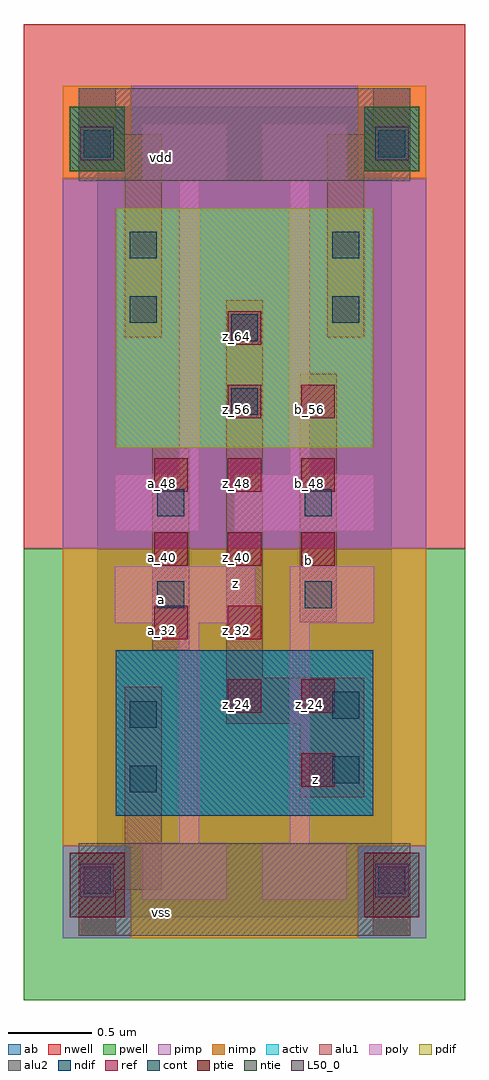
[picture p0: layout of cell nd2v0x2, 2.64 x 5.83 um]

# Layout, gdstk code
import gdstk
lib = gdstk.Library(unit=1e-6, precision=2.5e-09)
def R(c, l, rs):  # rectangles x0, y0, x1, y1
    for r in rs: c.add(gdstk.rectangle(r[:2], r[2:], *l))
def A(c, l, x, y, w, h, nx, ny, dx, dy):  # array of equal rectangles
    R(c, l, [(x+i*dx, y+j*dy, x+i*dx+w, y+j*dy+h) for i in range(nx) for j in range(ny)])
ndif = (3, 0)
pdif = (4, 0)
ntie = (5, 0)
ptie = (6, 0)
ref = (24, 0)
cont = (25, 0)
pwell = (41, 0)
nwell = (42, 0)
activ = (43, 0)
pimp = (44, 0)
nimp = (45, 0)
poly = (46, 0)
alu1 = (49, 0)
L50_0 = (50, 0)
alu2 = (51, 0)
ab = (63, 0)

nd2v0x2 = lib.new_cell('nd2v0x2')
R(nd2v0x2, ndif, [(0.11,0.605,1.65,1.595)])
R(nd2v0x2, pdif, [(0.11,2.805,1.65,4.235)])
R(nd2v0x2, ntie, [(-0.165,4.455,0.165,4.84), (1.595,4.455,1.925,4.84)])
R(nd2v0x2, ptie, [(-0.165,0,0.165,0.385), (1.595,0,1.925,0.385)])
A(nd2v0x2, ref, 0.34, 2.1, 0.2, 0.2, 3, 2, 0.44, 0.44)
R(nd2v0x2, ref, [(1.22,0.78,1.42,0.98), (0.78,1.22,0.98,1.42), (1.22,1.22,1.42,1.42), (0.34,1.66,0.54,1.86), (0.78,1.66,0.98,1.86), (0.78,2.98,0.98,3.18), (1.22,2.98,1.42,3.18), (0.78,3.42,0.98,3.62)])
R(nd2v0x2, cont, [(-0.08,0.14,0.08,0.3), (1.68,0.14,1.84,0.3), (0.195,0.745,0.355,0.905), (1.405,0.8,1.565,0.96), (0.195,1.13,0.355,1.29), (1.405,1.185,1.565,1.345), (0.36,1.845,0.52,2.005), (1.24,1.845,1.4,2.005), (0.36,2.395,0.52,2.555), (1.24,2.395,1.4,2.555), (0.8,3,0.96,3.16), (0.8,3.44,0.96,3.6), (0.195,3.55,0.355,3.71), (1.405,3.55,1.565,3.71), (0.195,3.935,0.355,4.095), (1.405,3.935,1.565,4.095), (-0.08,4.54,0.08,4.7), (1.68,4.54,1.84,4.7)])
R(nd2v0x2, pwell, [(-0.44,-0.495,2.2,2.2)])
R(nd2v0x2, nwell, [(-0.44,2.2,2.2,5.335)])
R(nd2v0x2, activ, [(-0.165,0,0.165,0.385), (1.595,0,1.925,0.385), (0.11,0.605,1.65,1.595), (0.11,2.805,1.65,4.235), (-0.165,4.455,0.165,4.84), (1.595,4.455,1.925,4.84)])
R(nd2v0x2, pimp, [(-0.205,-0.125,0.205,0.425), (1.555,-0.125,1.965,0.425), (-0.205,2.2,1.965,4.415), (0.205,4.415,1.555,4.965)])
R(nd2v0x2, nimp, [(0.205,-0.125,1.555,0.425), (-0.205,0.425,1.965,2.2), (-0.205,4.415,0.205,4.965), (1.555,4.415,1.965,4.965)])
R(nd2v0x2, poly, [(0.27,0.105,0.775,0.445), (0.985,0.105,1.49,0.445), (0.49,0.445,0.61,1.755), (1.15,0.445,1.27,1.755), (0.105,1.755,0.94,2.095), (1.15,1.755,1.655,2.095), (0.105,2.305,0.61,2.645), (0.82,2.305,1.655,2.645), (0.49,2.645,0.61,4.395), (1.15,2.645,1.27,4.395), (0.27,4.395,0.775,4.735), (0.985,4.395,1.49,4.735)])
R(nd2v0x2, alu1, [(-0.11,-0.11,0.11,0.165), (1.65,-0.11,1.87,0.385), (-0.11,0.165,0.385,0.385), (0.165,0.385,0.385,1.375), (1.21,0.715,1.595,1.155), (0.77,1.155,1.595,1.43), (0.77,1.43,0.99,3.685), (0.33,1.595,0.55,2.805), (1.21,1.76,1.43,3.245), (0.165,3.465,0.385,4.455), (1.375,3.465,1.595,4.455), (-0.11,4.455,0.385,4.675), (1.375,4.455,1.87,4.675), (-0.11,4.675,0.11,4.95), (1.65,4.675,1.87,4.95)])
R(nd2v0x2, L50_0, [(-0.1,0.12,0.1,0.32), (1.66,0.12,1.86,0.32), (-0.1,4.52,0.1,4.72), (1.66,4.52,1.86,4.72)])
R(nd2v0x2, alu2, [(-0.11,-0.11,1.87,0.44), (-0.11,4.4,1.87,4.95)])
R(nd2v0x2, ab, [(0,0,1.76,4.84)])
nd2v0x2.add(gdstk.Label('z', (1.305,0.825), layer=49, texttype=0))
nd2v0x2.add(gdstk.Label('b', (1.265,2.13), layer=49, texttype=0))
nd2v0x2.add(gdstk.Label('z', (0.825,1.9925), layer=49, texttype=0))
nd2v0x2.add(gdstk.Label('a', (0.385,1.8975), layer=49, texttype=0))
nd2v0x2.add(gdstk.Label('vss', (0.385,0.0275), layer=51, texttype=0))
nd2v0x2.add(gdstk.Label('vdd', (0.385,4.5375), layer=51, texttype=0))
nd2v0x2.add(gdstk.Label('z_24', (1.27,1.27), layer=24, texttype=0))
nd2v0x2.add(gdstk.Label('b_56', (1.27,3.03), layer=24, texttype=0))
nd2v0x2.add(gdstk.Label('z_16', (1.27,0.83), layer=24, texttype=0))
nd2v0x2.add(gdstk.Label('b_48', (1.27,2.59), layer=24, texttype=0))
nd2v0x2.add(gdstk.Label('b_40', (1.27,2.15), layer=24, texttype=0))
nd2v0x2.add(gdstk.Label('a_32', (0.39,1.71), layer=24, texttype=0))
nd2v0x2.add(gdstk.Label('a_48', (0.39,2.59), layer=24, texttype=0))
nd2v0x2.add(gdstk.Label('z_24', (0.83,1.27), layer=24, texttype=0))
nd2v0x2.add(gdstk.Label('z_32', (0.83,1.71), layer=24, texttype=0))
nd2v0x2.add(gdstk.Label('z_64', (0.83,3.47), layer=24, texttype=0))
nd2v0x2.add(gdstk.Label('z_56', (0.83,3.03), layer=24, texttype=0))
nd2v0x2.add(gdstk.Label('z_48', (0.83,2.59), layer=24, texttype=0))
nd2v0x2.add(gdstk.Label('z_40', (0.83,2.15), layer=24, texttype=0))
nd2v0x2.add(gdstk.Label('a_40', (0.39,2.15), layer=24, texttype=0))

lib.write_gds('nd2v0x2.gds')
